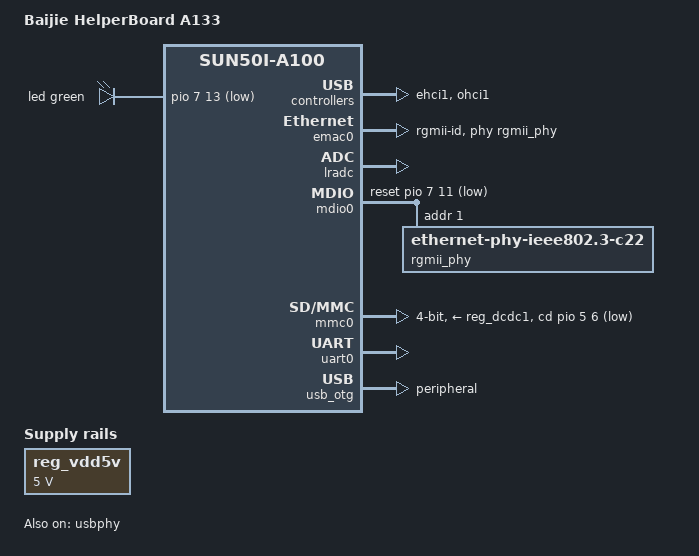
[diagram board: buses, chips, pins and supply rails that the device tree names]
// SPDX-License-Identifier: (GPL-2.0+ OR MIT)
/*
 * Copyright (c) 2025 Arm Ltd.
 * Copyright (c) 2026 Alexander Sverdlin <alexander.sverdlin@gmail.com>
 */

/dts-v1/;

#include "sun50i-a133-helperboard-core.dtsi"

#include <dt-bindings/gpio/gpio.h>
#include <dt-bindings/input/linux-event-codes.h>
#include <dt-bindings/leds/common.h>

/{
	model = "Baijie HelperBoard A133";
	compatible = "baijie,helperboard-a133",
		     "baijie,helperboard-a133-core",
		     "allwinner,sun50i-a100";

	aliases {
		serial0 = &uart0;
	};

	chosen {
		stdout-path = "serial0:115200n8";
	};

	leds {
		compatible = "gpio-leds";

		led {
			function = LED_FUNCTION_INDICATOR;
			color = <LED_COLOR_ID_GREEN>;
			gpios = <&pio 7 13 GPIO_ACTIVE_LOW>;	/* PH13 */
		};
	};

	reg_vdd5v: vdd5v {
		/* board wide 5V supply from a 12V->5V regulator */
		compatible = "regulator-fixed";
		regulator-name = "vdd-5v";
		regulator-min-microvolt = <5000000>;
		regulator-max-microvolt = <5000000>;
		regulator-always-on;
	};
};

&ehci1 {
	status = "okay";
};

&emac0 {
	pinctrl-names = "default";
	pinctrl-0 = <&rgmii0_pins>;
	phy-handle = <&rgmii_phy>;
	phy-mode = "rgmii-id";
	allwinner,rx-delay-ps = <200>;
	allwinner,tx-delay-ps = <200>;
	status = "okay";
};

&lradc {
	wakeup-source;
	status = "okay";

	button-115 {
		label = "K1";
		linux,code = <KEY_1>;
		channel = <0>;
		voltage = <114607>;
	};

	button-235 {
		label = "K2";
		linux,code = <KEY_2>;
		channel = <0>;
		voltage = <234783>;
	};

	button-360 {
		label = "K3";
		linux,code = <KEY_3>;
		channel = <0>;
		voltage = <360000>;
	};

	button-476 {
		label = "K4";
		linux,code = <KEY_4>;
		channel = <0>;
		voltage = <476471>;
	};

	button-592 {
		label = "K5";
		linux,code = <KEY_5>;
		channel = <0>;
		voltage = <591946>;
	};
};

&mdio0 {
	reset-gpios = <&pio 7 11 GPIO_ACTIVE_LOW>;	/* PH11 */
	reset-delay-us = <10000>;
	reset-post-delay-us = <150000>;

	rgmii_phy: ethernet-phy@1 {
		compatible = "ethernet-phy-ieee802.3-c22";
		reg = <1>;
	};
};

&mmc0 {
	vmmc-supply = <&reg_dcdc1>;
	cd-gpios = <&pio 5 6 GPIO_ACTIVE_LOW>;	/* PF6 */
	bus-width = <4>;
	disable-wp;
	status = "okay";
};

&ohci1 {
	status = "okay";
};

&rgmii0_pins {
	drive-strength = <30>;
};

&uart0 {
	pinctrl-names = "default";
	pinctrl-0 = <&uart0_pb_pins>;
	status = "okay";
};

&usb_otg {
	/*
	 * Connected to a downstream port of an onboard hub, therefore only
	 * "peripheral" mode will work here.
	 */
	dr_mode = "peripheral";
	status = "okay";
};

&usbphy {
	usb1_vbus-supply = <&reg_vdd5v>;
	status = "okay";
};
